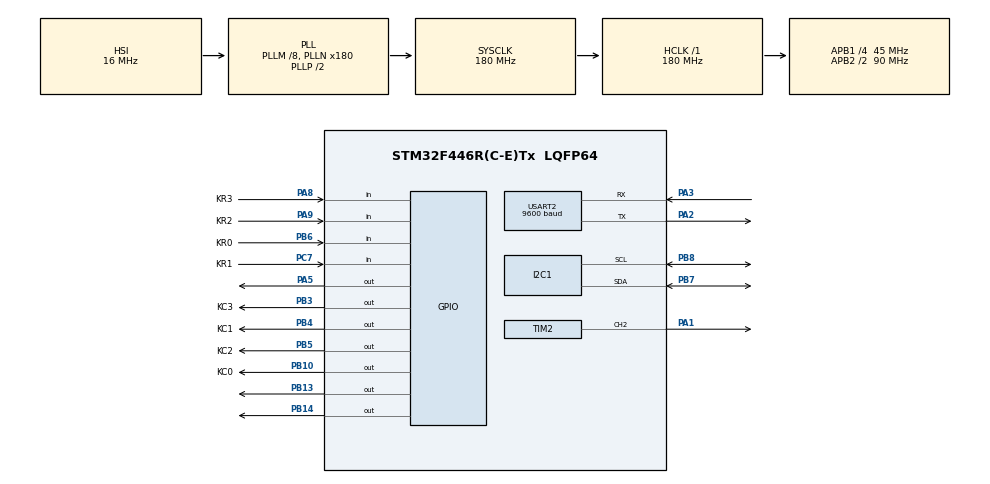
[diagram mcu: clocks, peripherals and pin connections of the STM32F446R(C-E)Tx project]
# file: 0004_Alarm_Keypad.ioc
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FREERTOS.Tasks01=defaultTask,24,128,StartDefaultTask,Default,NULL,Dynamic,NULL,NULL;keypadTast,8,128,StartKeypadTask,Default,NULL,Dynamic,NULL,NULL;motionTask,8,128,StartMotionSensor,Default,NULL,Dynamic,NULL,NULL;outputTask,8,128,StartOutputTask,Default,NULL,Dynamic,NULL,NULL
I2C1.I2C_Mode=I2C_Fast
Mcu.Family=STM32F4
Mcu.Name=STM32F446R(C-E)Tx
Mcu.Package=LQFP64
NVIC.PriorityGroup=NVIC_PRIORITYGROUP_4
NVIC.TIM6_DAC_IRQn=true\:0\:0\:false\:false\:true\:false\:false\:true\:true
NVIC.TimeBase=TIM6_DAC_IRQn
NVIC.TimeBaseIP=TIM6
PA1.Signal=S_TIM2_CH2
PA13.Mode=Serial_Wire
PA13.Signal=SYS_JTMS-SWDIO
PA14.Mode=Serial_Wire
PA14.Signal=SYS_JTCK-SWCLK
PA2.Mode=Asynchronous
PA2.Signal=USART2_TX
PA3.Mode=Asynchronous
PA3.Signal=USART2_RX
PA5.Signal=GPIO_Output
PA8.GPIO_Label=KR3
PA8.GPIO_PuPd=GPIO_PULLDOWN
PA8.Signal=GPIO_Input
PA9.GPIO_Label=KR2
PA9.GPIO_PuPd=GPIO_PULLDOWN
PA9.Signal=GPIO_Input
PB10.GPIO_Label=KC0
PB10.Signal=GPIO_Output
PB13.Signal=GPIO_Output
PB14.Signal=GPIO_Output
PB3.GPIO_Label=KC3
PB3.Signal=GPIO_Output
PB4.GPIO_Label=KC1
PB4.Signal=GPIO_Output
PB5.GPIO_Label=KC2
PB5.Signal=GPIO_Output
PB6.GPIO_Label=KR0
PB6.GPIO_PuPd=GPIO_PULLDOWN
PB6.Signal=GPIO_Input
PB7.Mode=I2C
PB7.Signal=I2C1_SDA
PB8.Mode=I2C
PB8.Signal=I2C1_SCL
PC14-OSC32_IN.Mode=LSE-External-Oscillator
PC14-OSC32_IN.Signal=RCC_OSC32_IN
PC15-OSC32_OUT.Mode=LSE-External-Oscillator
PC15-OSC32_OUT.Signal=RCC_OSC32_OUT
PC7.GPIO_Label=KR1
PC7.GPIO_PuPd=GPIO_PULLDOWN
PC7.Signal=GPIO_Input
PH0-OSC_IN.Mode=HSE-External-Oscillator
PH0-OSC_IN.Signal=RCC_OSC_IN
PH1-OSC_OUT.Mode=HSE-External-Oscillator
PH1-OSC_OUT.Signal=RCC_OSC_OUT
ProjectManager.HeapSize=0x200
ProjectManager.StackSize=0x400
ProjectManager.TargetToolchain=STM32CubeIDE
RCC.48MHZClocksFreq_Value=84000000
RCC.AHBFreq_Value=180000000
RCC.APB1CLKDivider=RCC_HCLK_DIV4
RCC.APB1Freq_Value=45000000
RCC.APB1TimFreq_Value=90000000
RCC.APB2CLKDivider=RCC_HCLK_DIV2
RCC.APB2Freq_Value=90000000
RCC.APB2TimFreq_Value=180000000
RCC.CortexFreq_Value=180000000
RCC.FLatency-AdvancedSettings=FLASH_LATENCY_5
RCC.HCLKFreq_Value=180000000
RCC.HSE_VALUE=8000000
RCC.HSI_VALUE=16000000
RCC.PLLM=8
RCC.PLLN=180
RCC.SYSCLKFreq_VALUE=180000000
RCC.SYSCLKSource=RCC_SYSCLKSOURCE_PLLCLK
RCC.USBFreq_Value=180000000
RCC.VCOOutputFreq_Value=360000000
SH.S_TIM2_CH2.0=TIM2_CH2,PWM Generation2 CH2
TIM2.Channel-PWM\ Generation2\ CH2=TIM_CHANNEL_2
TIM2.Period=10000-1
TIM2.Prescaler=180-1
USART2.BaudRate=9600
USART2.VirtualMode=VM_ASYNC
VP_FREERTOS_VS_CMSIS_V2.Mode=CMSIS_V2
VP_SYS_VS_tim6.Mode=TIM6
VP_TIM2_VS_ClockSourceINT.Mode=Internal
board=NUCLEO-F446RE

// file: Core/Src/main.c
/* USER CODE BEGIN Header */
/**
  ******************************************************************************
  * @file           : main.c
  * @brief          : Main program body
  ******************************************************************************
  * @attention
  *
  * Copyright (c) 2024 STMicroelectronics.
  * All rights reserved.
  *
  * This software is licensed under terms that can be found in the LICENSE file
  * in the root directory of this software component.
  * If no LICENSE file comes with this software, it is provided AS-IS.
  *
  ******************************************************************************
  */
/* USER CODE END Header */
#include "main.h"
#include "cmsis_os.h"

/* USER CODE BEGIN Includes */
#include "Keypad4X4.h"
#include <stdio.h>
#include <string.h>
#include <stdlib.h>
#include "fonts.h"
#include "ssd1306.h"

/* USER CODE END Includes */

I2C_HandleTypeDef hi2c1;

TIM_HandleTypeDef htim2;

UART_HandleTypeDef huart2;

/* Definitions for defaultTask */
osThreadId_t defaultTaskHandle;
const osThreadAttr_t defaultTask_attributes = {
  .name = "defaultTask",
  .stack_size = 128 * 4,
  .priority = (osPriority_t) osPriorityNormal,
};
/* Definitions for keypadTast */
osThreadId_t keypadTastHandle;
const osThreadAttr_t keypadTast_attributes = {
  .name = "keypadTast",
  .stack_size = 128 * 4,
  .priority = (osPriority_t) osPriorityLow,
};
/* Definitions for motionTask */
osThreadId_t motionTaskHandle;
const osThreadAttr_t motionTask_attributes = {
  .name = "motionTask",
  .stack_size = 128 * 4,
  .priority = (osPriority_t) osPriorityLow,
};
/* Definitions for outputTask */
osThreadId_t outputTaskHandle;
const osThreadAttr_t outputTask_attributes = {
  .name = "outputTask",
  .stack_size = 128 * 4,
  .priority = (osPriority_t) osPriorityLow,
};
/* USER CODE BEGIN PV */
extern char key;
char masterkey[6];
int masterlen = 0;
char asterisk[6];
char hold[6];
int holdlen = 0;
int motion = 0;

int alarmgraceperiod = 5000; // 5 seconds - should be 60 seconds
int alarmgraceflag = 0; //0 for alarm, 1 for arming grace, 2 for movement detected grace

int armed;
/* USER CODE END PV */

void SystemClock_Config(void);
static void MX_GPIO_Init(void);
static void MX_USART2_UART_Init(void);
static void MX_I2C1_Init(void);
static void MX_TIM2_Init(void);
void StartDefaultTask(void *argument);
void StartKeypadTask(void *argument);
void StartMotionSensor(void *argument);
void StartOutputTask(void *argument);

int main(void)
{

  /* MCU Configuration--------------------------------------------------------*/

  /* Reset of all peripherals, Initializes the Flash interface and the Systick. */
  HAL_Init();

  /* Configure the system clock */
  SystemClock_Config();

  /* Initialize all configured peripherals */
  MX_GPIO_Init();
  MX_USART2_UART_Init();
  MX_I2C1_Init();
  MX_TIM2_Init();
  /* USER CODE BEGIN 2 */
  HAL_TIM_PWM_Start(&htim2, TIM_CHANNEL_2);

	SSD1306_Init();
	SSD1306_GotoXY (0,0);
	SSD1306_Puts ("Lab 4:", &Font_11x18, 1);
	SSD1306_GotoXY (0, 30);
	SSD1306_UpdateScreen();
	HAL_Delay (500);

  /* USER CODE END 2 */

  /* Init scheduler */
  osKernelInitialize();

  /* Create the thread(s) */
  /* creation of defaultTask */
  defaultTaskHandle = osThreadNew(StartDefaultTask, NULL, &defaultTask_attributes);

  /* creation of keypadTast */
  keypadTastHandle = osThreadNew(StartKeypadTask, NULL, &keypadTast_attributes);

  /* creation of motionTask */
  motionTaskHandle = osThreadNew(StartMotionSensor, NULL, &motionTask_attributes);

  /* creation of outputTask */
  outputTaskHandle = osThreadNew(StartOutputTask, NULL, &outputTask_attributes);

  /* Start scheduler */
  osKernelStart();

  /* We should never get here as control is now taken by the scheduler */

  /* Infinite loop */
  while (1)
  {

}

void SystemClock_Config(void)
{
  RCC_OscInitTypeDef RCC_OscInitStruct = {0};
  RCC_ClkInitTypeDef RCC_ClkInitStruct = {0};

  /** Configure the main internal regulator output voltage
  */
  __HAL_RCC_PWR_CLK_ENABLE();
  __HAL_PWR_VOLTAGESCALING_CONFIG(PWR_REGULATOR_VOLTAGE_SCALE1);

  /** Initializes the RCC Oscillators according to the specified parameters
  * in the RCC_OscInitTypeDef structure.
  */
  RCC_OscInitStruct.OscillatorType = RCC_OSCILLATORTYPE_HSI;
  RCC_OscInitStruct.HSIState = RCC_HSI_ON;
  RCC_OscInitStruct.HSICalibrationValue = RCC_HSICALIBRATION_DEFAULT;
  RCC_OscInitStruct.PLL.PLLState = RCC_PLL_ON;
  RCC_OscInitStruct.PLL.PLLSource = RCC_PLLSOURCE_HSI;
  RCC_OscInitStruct.PLL.PLLM = 8;
  RCC_OscInitStruct.PLL.PLLN = 180;
  RCC_OscInitStruct.PLL.PLLP = RCC_PLLP_DIV2;
  RCC_OscInitStruct.PLL.PLLQ = 2;
  RCC_OscInitStruct.PLL.PLLR = 2;
  if (HAL_RCC_OscConfig(&RCC_OscInitStruct) != HAL_OK)
  {
    Error_Handler();
  }

  /** Activate the Over-Drive mode
  */
  if (HAL_PWREx_EnableOverDrive() != HAL_OK)
  {
    Error_Handler();
  }

  /** Initializes the CPU, AHB and APB buses clocks
  */
  RCC_ClkInitStruct.ClockType = RCC_CLOCKTYPE_HCLK|RCC_CLOCKTYPE_SYSCLK
                              |RCC_CLOCKTYPE_PCLK1|RCC_CLOCKTYPE_PCLK2;
  RCC_ClkInitStruct.SYSCLKSource = RCC_SYSCLKSOURCE_PLLCLK;
  RCC_ClkInitStruct.AHBCLKDivider = RCC_SYSCLK_DIV1;
  RCC_ClkInitStruct.APB1CLKDivider = RCC_HCLK_DIV4;
  RCC_ClkInitStruct.APB2CLKDivider = RCC_HCLK_DIV2;

  if (HAL_RCC_ClockConfig(&RCC_ClkInitStruct, FLASH_LATENCY_5) != HAL_OK)
  {
    Error_Handler();
  }
}

static void MX_I2C1_Init(void)
{

  hi2c1.Instance = I2C1;
  hi2c1.Init.ClockSpeed = 400000;
  hi2c1.Init.DutyCycle = I2C_DUTYCYCLE_2;
  hi2c1.Init.OwnAddress1 = 0;
  hi2c1.Init.AddressingMode = I2C_ADDRESSINGMODE_7BIT;
  hi2c1.Init.DualAddressMode = I2C_DUALADDRESS_DISABLE;
  hi2c1.Init.OwnAddress2 = 0;
  hi2c1.Init.GeneralCallMode = I2C_GENERALCALL_DISABLE;
  hi2c1.Init.NoStretchMode = I2C_NOSTRETCH_DISABLE;
  if (HAL_I2C_Init(&hi2c1) != HAL_OK)
  {
    Error_Handler();
  }

}

static void MX_TIM2_Init(void)
{

  TIM_ClockConfigTypeDef sClockSourceConfig = {0};
  TIM_MasterConfigTypeDef sMasterConfig = {0};
  TIM_OC_InitTypeDef sConfigOC = {0};

  htim2.Instance = TIM2;
  htim2.Init.Prescaler = 180-1;
  htim2.Init.CounterMode = TIM_COUNTERMODE_UP;
  htim2.Init.Period = 10000-1;
  htim2.Init.ClockDivision = TIM_CLOCKDIVISION_DIV1;
  htim2.Init.AutoReloadPreload = TIM_AUTORELOAD_PRELOAD_DISABLE;
  if (HAL_TIM_Base_Init(&htim2) != HAL_OK)
  {
    Error_Handler();
  }
  sClockSourceConfig.ClockSource = TIM_CLOCKSOURCE_INTERNAL;
  if (HAL_TIM_ConfigClockSource(&htim2, &sClockSourceConfig) != HAL_OK)
  {
    Error_Handler();
  }
  if (HAL_TIM_PWM_Init(&htim2) != HAL_OK)
  {
    Error_Handler();
  }
  sMasterConfig.MasterOutputTrigger = TIM_TRGO_RESET;
  sMasterConfig.MasterSlaveMode = TIM_MASTERSLAVEMODE_DISABLE;
  if (HAL_TIMEx_MasterConfigSynchronization(&htim2, &sMasterConfig) != HAL_OK)
  {
    Error_Handler();
  }
  sConfigOC.OCMode = TIM_OCMODE_PWM1;
  sConfigOC.Pulse = 0;
  sConfigOC.OCPolarity = TIM_OCPOLARITY_HIGH;
  sConfigOC.OCFastMode = TIM_OCFAST_DISABLE;
  if (HAL_TIM_PWM_ConfigChannel(&htim2, &sConfigOC, TIM_CHANNEL_2) != HAL_OK)
  {
    Error_Handler();
  }
  HAL_TIM_MspPostInit(&htim2);

}

static void MX_USART2_UART_Init(void)
{

  huart2.Instance = USART2;
  huart2.Init.BaudRate = 9600;
  huart2.Init.WordLength = UART_WORDLENGTH_8B;
  huart2.Init.StopBits = UART_STOPBITS_1;
  huart2.Init.Parity = UART_PARITY_NONE;
  huart2.Init.Mode = UART_MODE_TX_RX;
  huart2.Init.HwFlowCtl = UART_HWCONTROL_NONE;
  huart2.Init.OverSampling = UART_OVERSAMPLING_16;
  if (HAL_UART_Init(&huart2) != HAL_OK)
  {
    Error_Handler();
  }

}

static void MX_GPIO_Init(void)
{
  GPIO_InitTypeDef GPIO_InitStruct = {0};

  /* GPIO Ports Clock Enable */
  __HAL_RCC_GPIOC_CLK_ENABLE();
  __HAL_RCC_GPIOH_CLK_ENABLE();
  __HAL_RCC_GPIOA_CLK_ENABLE();
  __HAL_RCC_GPIOB_CLK_ENABLE();

  /*Configure GPIO pin Output Level */
  HAL_GPIO_WritePin(GPIOA, GPIO_PIN_5, GPIO_PIN_RESET);

  /*Configure GPIO pin Output Level */
  HAL_GPIO_WritePin(GPIOB, KC0_Pin|GPIO_PIN_13|GPIO_PIN_14|KC3_Pin
                          |KC1_Pin|KC2_Pin, GPIO_PIN_RESET);

  /*Configure GPIO pin : PA5 */
  GPIO_InitStruct.Pin = GPIO_PIN_5;
  GPIO_InitStruct.Mode = GPIO_MODE_OUTPUT_PP;
  GPIO_InitStruct.Pull = GPIO_NOPULL;
  GPIO_InitStruct.Speed = GPIO_SPEED_FREQ_LOW;
  HAL_GPIO_Init(GPIOA, &GPIO_InitStruct);

  /*Configure GPIO pins : KC0_Pin PB13 PB14 KC3_Pin
                           KC1_Pin KC2_Pin */
  GPIO_InitStruct.Pin = KC0_Pin|GPIO_PIN_13|GPIO_PIN_14|KC3_Pin
                          |KC1_Pin|KC2_Pin;
  GPIO_InitStruct.Mode = GPIO_MODE_OUTPUT_PP;
  GPIO_InitStruct.Pull = GPIO_NOPULL;
  GPIO_InitStruct.Speed = GPIO_SPEED_FREQ_LOW;
  HAL_GPIO_Init(GPIOB, &GPIO_InitStruct);

  /*Configure GPIO pin : KR1_Pin */
  GPIO_InitStruct.Pin = KR1_Pin;
  GPIO_InitStruct.Mode = GPIO_MODE_INPUT;
  GPIO_InitStruct.Pull = GPIO_PULLDOWN;
  HAL_GPIO_Init(KR1_GPIO_Port, &GPIO_InitStruct);

  /*Configure GPIO pins : KR3_Pin KR2_Pin */
  GPIO_InitStruct.Pin = KR3_Pin|KR2_Pin;
  GPIO_InitStruct.Mode = GPIO_MODE_INPUT;
  GPIO_InitStruct.Pull = GPIO_PULLDOWN;
  HAL_GPIO_Init(GPIOA, &GPIO_InitStruct);

  /*Configure GPIO pin : KR0_Pin */
  GPIO_InitStruct.Pin = KR0_Pin;
  GPIO_InitStruct.Mode = GPIO_MODE_INPUT;
  GPIO_InitStruct.Pull = GPIO_PULLDOWN;
  HAL_GPIO_Init(KR0_GPIO_Port, &GPIO_InitStruct);

}

void StartDefaultTask(void *argument)
{
  /* USER CODE BEGIN 5 */
  /* Infinite loop */
  for(;;)
  {
    if (armed == 0) {
    	__HAL_TIM_SET_COMPARE(&htim2,TIM_CHANNEL_2, 250);
    } else {
	    __HAL_TIM_SET_COMPARE(&htim2,TIM_CHANNEL_2, 750);
    }
    HAL_Delay(1000);
  }
  /* USER CODE END 5 */
}

void StartKeypadTask(void *argument)
{
  /* USER CODE BEGIN StartKeypadTask */
  /* Infinite loop */
  for(;;)
  {
	 key = Get_Key();

	 if (armed == 0) {

		 if (key == '*') { // Submitted
			if (masterlen >= 4 && masterlen <= 6) {
				armed = 1; // arm the system

				//Allow grace period for user to walk away
				alarmgraceflag = 1;
			} else {
				continue;
			}
		 } else if (masterlen < 6) {
			masterkey[masterlen] = key;
			masterlen++;
		 }

	 } else {

		 if (key == '*') { // Submitted
			 int match = 1;
			 if (masterlen != holdlen) {
				 match = 0;
			 } else {
				 for (int i=0;i<masterlen;i++){
					 if (masterkey[i] != hold[i]) {
						 match = 0;
					 }
				 }
			 }

			 if (match == 1) {
				 armed = 0;
				 //Clear master
				 for (int i=0;i<masterlen;i++){
					 masterkey[i] = ' ';
				 }
				 masterlen = 0;
				 //Clear hold
				 for (int i=0;i<holdlen;i++){
					 hold[i] = ' ';
					 asterisk[i] = ' ';
				 }
				 holdlen = 0;

			 } else {
				 //Clear hold
				 for (int i=0;i<holdlen;i++){
					 hold[i] = ' ';
					 asterisk[i] = ' ';
				 }
				 holdlen = 0;
			 }
		 } else if (holdlen < 6) {
			 hold[holdlen] = key;
			 asterisk[holdlen] = '*';
			 holdlen++;
		 }
	 }

	 HAL_Delay(100);

  }
  /* USER CODE END StartKeypadTask */
}

void StartMotionSensor(void *argument)
{
  /* USER CODE BEGIN StartMotionSensor */
  /* Infinite loop */
  for(;;)
  {

	  if (armed == 1) {

		 //Arming grace period
		 if (alarmgraceflag == 1) {
			HAL_Delay(alarmgraceperiod);

			//Grace period over - set flag to detect movement
			alarmgraceflag = 2;
			continue;
		}

		motion = HAL_GPIO_ReadPin(GPIOB, GPIO_PIN_15);
    	if (motion == 1) { // Detected motion
    		//Detection grace period
			 if (alarmgraceflag == 2) {
				HAL_Delay(alarmgraceperiod);

				//Grace period over - reset flag, sound alarm on next motion
				alarmgraceflag = 0;
				continue;
			}

    		//Activate buzzer
    		HAL_GPIO_WritePin(GPIOB, GPIO_PIN_2, 1);
    	}

    }

    //Deactivate buzzer
    HAL_GPIO_WritePin(GPIOB, GPIO_PIN_2, 0);

	HAL_Delay(500);
  }
  /* USER CODE END StartMotionSensor */
}

void StartOutputTask(void *argument)
{
  /* USER CODE BEGIN StartOutputTask */
  /* Infinite loop */
  for(;;)
  {

	SSD1306_Clear();

	if (armed == 0) {
		HAL_GPIO_WritePin(GPIOB, GPIO_PIN_13, GPIO_PIN_SET);
		HAL_GPIO_WritePin(GPIOB, GPIO_PIN_14, GPIO_PIN_RESET);

		SSD1306_GotoXY(0,0);
		SSD1306_Puts("NOT ARMED", &Font_11x18,1);
		SSD1306_GotoXY(0,30);
		SSD1306_Puts(masterkey, &Font_11x18,1);
		SSD1306_UpdateScreen();

	} else {
		HAL_GPIO_WritePin(GPIOB, GPIO_PIN_14, GPIO_PIN_SET);
		HAL_GPIO_WritePin(GPIOB, GPIO_PIN_13, GPIO_PIN_RESET);

		SSD1306_GotoXY(0,0);
		SSD1306_Puts("ARMED", &Font_11x18,1);
		SSD1306_GotoXY(0,30);
		SSD1306_Puts(asterisk, &Font_11x18,1);
		SSD1306_UpdateScreen();

	}
	HAL_Delay(500);

  }
  /* USER CODE END StartOutputTask */
}

void HAL_TIM_PeriodElapsedCallback(TIM_HandleTypeDef *htim)
{
  if (htim->Instance == TIM6) {
    HAL_IncTick();
  }
}

void Error_Handler(void)
{
  __disable_irq();
  while (1)
  {
  }
}
